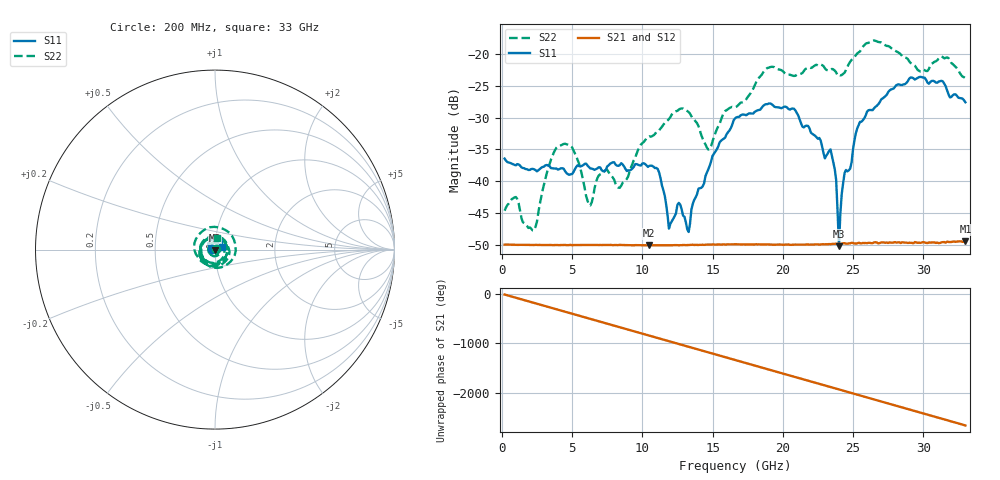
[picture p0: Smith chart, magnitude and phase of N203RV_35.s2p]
# GHZ S RI R 50
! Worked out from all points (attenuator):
!   329 points, 200 MHz to 33 GHz, reference 50 ohm
!   highest |S21| = -49.43 dB at 33 GHz (marker M1); lowest = -50.1 dB at 10.5 GHz (marker M2)
!   lowest |S11| = -50.2 dB at 24 GHz (marker M3), VSWR 1.01, Z = 50.1 - j0.294 ohm
!   |S11| at or under -10 dB: start of sweep to end of sweep
!   |S22| runs from -47.7 to -17.9 dB; largest |S21 - S12| = 7.2e-05
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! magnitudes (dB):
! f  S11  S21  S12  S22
! 200 MHz  -36.5  -50.0  -50.0  -44.7
! 1 GHz  -37.5  -50.0  -50.0  -42.5
! 2.3 GHz  -38.1  -50.0  -50.0  -47.7
! 4 GHz  -38.2  -50.1  -50.0  -34.5
! 5.7 GHz  -37.6  -50.0  -50.0  -39.0
! 6.3 GHz  -38.0  -50.0  -50.0  -43.8
! 10.5 GHz  -37.6  -50.1  -50.1  -33.0
! 11.2 GHz  -38.6  -50.1  -50.1  -32.0
! 11.9 GHz  -47.5  -50.1  -50.1  -30.2
! 12.6 GHz  -43.4  -50.1  -50.0  -28.7
! 13.3 GHz  -48.0  -50.0  -50.0  -29.1
! 14.7 GHz  -38.1  -50.0  -50.0  -35.0
! 16.6 GHz  -30.1  -49.9  -49.9  -28.4
! 18.9 GHz  -27.9  -50.0  -49.9  -22.2
! 22.1 GHz  -32.6  -50.0  -49.9  -22.1
! 23.4 GHz  -35.0  -49.9  -49.9  -22.5
! 23.8 GHz  -39.8  -49.8  -49.8  -22.9
! 24 GHz  -50.2  -49.8  -49.8  -23.3
! 24.4 GHz  -38.7  -49.8  -49.7  -22.9
! 25.3 GHz  -31.7  -49.8  -49.8  -19.9
! 27.6 GHz  -25.7  -49.6  -49.7  -18.9
! 33 GHz  -27.6  -49.4  -49.4  -23.8
